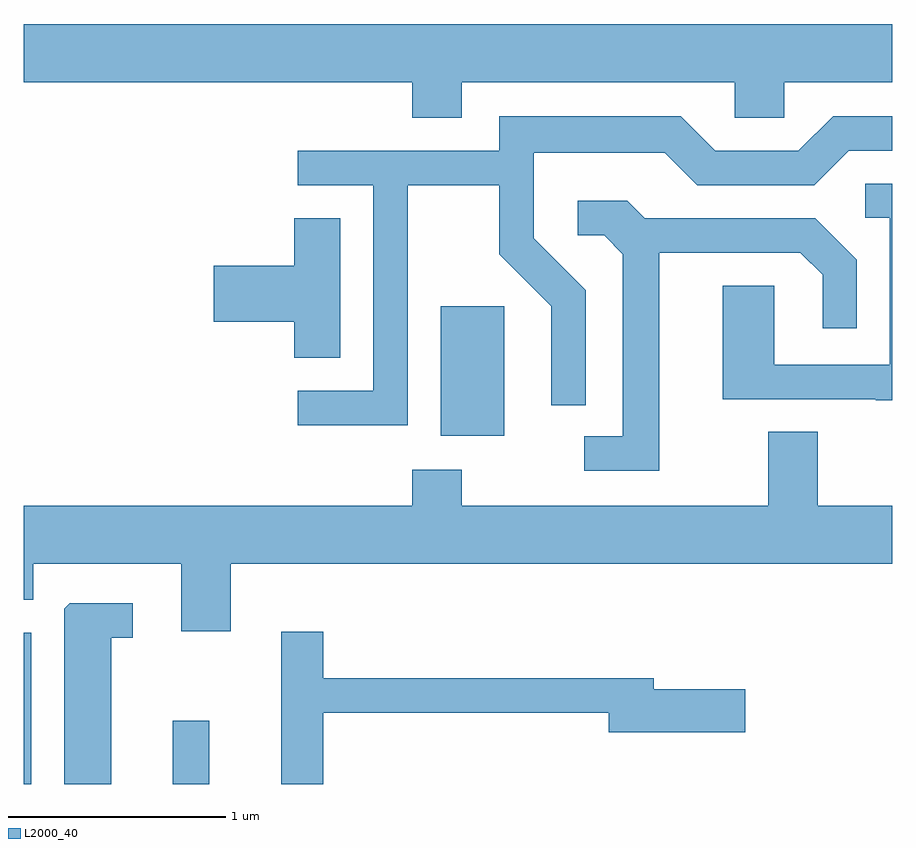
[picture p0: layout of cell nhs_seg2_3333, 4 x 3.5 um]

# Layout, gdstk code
import gdstk
lib = gdstk.Library(unit=1e-6, precision=1e-09)
def R(c, l, rs):  # rectangles x0, y0, x1, y1
    for r in rs: c.add(gdstk.rectangle(r[:2], r[2:], *l))
def P(c, l, *ps):  # polygons
    for p in ps: c.add(gdstk.Polygon(p, *l))
L2000_40 = (2000, 40)

nhs_seg2_3333 = lib.new_cell('nhs_seg2_3333')
R(nhs_seg2_3333, L2000_40, [(283.611,991.802,283.644,992.499), (284.296,991.802,284.464,992.093), (285.531,993.406,285.824,994.004)])
P(nhs_seg2_3333, L2000_40, [(285.629,995.036),(286.886,995.036),(286.886,994.871),(287.114,994.871),(287.114,995.036),(287.611,995.036),(287.611,995.304),(283.611,995.304),(283.611,995.036),(285.401,995.036),(285.401,994.871),(285.629,994.871)],
  [(285.379,994.561),(285.801,994.561),(285.801,994.244),(286.041,994.004),(286.041,993.548),(286.199,993.548),(286.199,994.077),(285.959,994.317),(285.959,994.711),(286.564,994.711),(286.714,994.561),(287.252,994.561),(287.412,994.721),(287.611,994.721),(287.611,994.879),(287.339,994.879),(287.179,994.719),(286.797,994.719),(286.637,994.879),(285.801,994.879),(285.801,994.719),(284.873,994.719),(284.873,994.561),(285.221,994.561),(285.221,993.614),(284.873,993.614),(284.873,993.456),(285.379,993.456)],
  [(287.611,994.569),(287.488,994.569),(287.488,994.411),(287.601,994.411),(287.601,993.734),(287.069,993.734),(287.069,994.099),(286.831,994.099),(286.831,993.576),(287.535,993.576),(287.535,993.571),(287.611,993.571)],
  [(286.539,994.251),(287.189,994.251),(287.291,994.149),(287.291,993.903),(287.449,993.903),(287.449,994.217),(287.257,994.409),(286.472,994.409),(286.392,994.489),(286.163,994.489),(286.163,994.331),(286.284,994.331),(286.371,994.244),(286.371,993.404),(286.193,993.404),(286.193,993.246),(286.539,993.246)],
  [(285.069,994.409),(284.856,994.409),(284.856,994.189),(284.486,994.189),(284.486,993.931),(284.856,993.931),(284.856,993.766),(285.069,993.766)],
  [(284.564,992.816),(287.611,992.816),(287.611,993.084),(287.269,993.084),(287.269,993.424),(287.041,993.424),(287.041,993.084),(285.629,993.084),(285.629,993.249),(285.401,993.249),(285.401,993.084),(283.611,993.084),(283.611,992.651),(283.654,992.651),(283.654,992.816),(284.336,992.816),(284.336,992.506),(284.564,992.506)],
  [(284.014,992.476),(284.113,992.476),(284.113,992.634),(283.822,992.634),(283.796,992.609),(283.796,991.802),(284.014,991.802)],
  [(284.989,992.131),(286.306,992.131),(286.306,992.041),(286.934,992.041),(286.934,992.239),(286.514,992.239),(286.514,992.289),(284.989,992.289),(284.989,992.504),(284.796,992.504),(284.796,991.802),(284.989,991.802)])

lib.write_gds('nhs_seg2_3333.gds')
